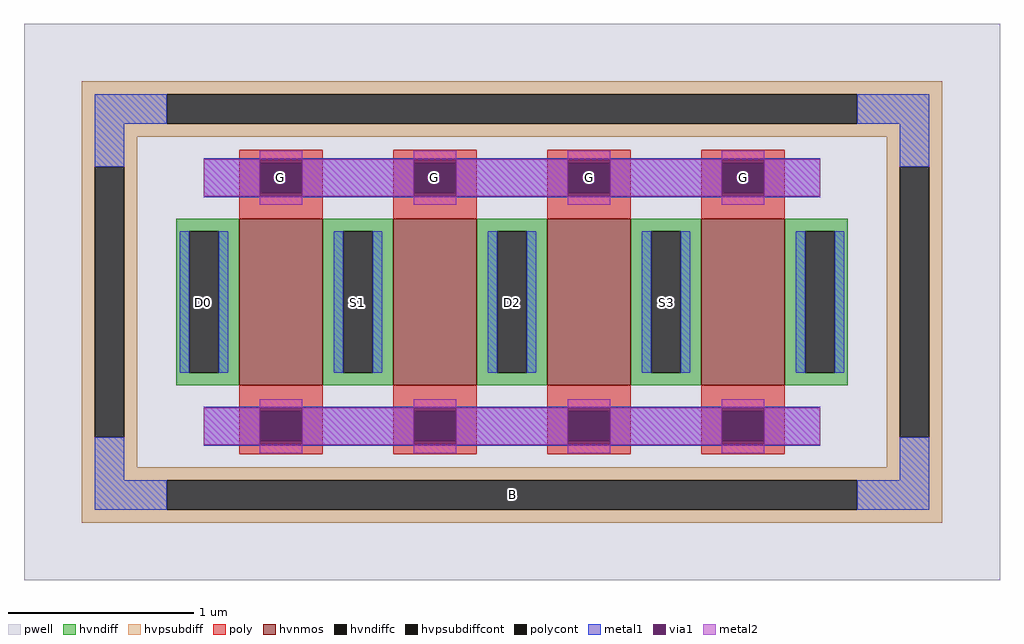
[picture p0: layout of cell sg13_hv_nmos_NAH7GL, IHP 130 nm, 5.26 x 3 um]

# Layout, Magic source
magic
tech ihp-sg13cmos5l
magscale 1 2
<< pwell >>
rect -526 -300 526 300
<< hvnmos >>
rect -294 -90 -204 90
rect -128 -90 -38 90
rect 38 -90 128 90
rect 204 -90 294 90
<< hvndiff >>
rect -362 76 -294 90
rect -362 -76 -348 76
rect -316 -76 -294 76
rect -362 -90 -294 -76
rect -204 76 -128 90
rect -204 -76 -182 76
rect -150 -76 -128 76
rect -204 -90 -128 -76
rect -38 76 38 90
rect -38 -76 -16 76
rect 16 -76 38 76
rect -38 -90 38 -76
rect 128 76 204 90
rect 128 -76 150 76
rect 182 -76 204 76
rect 128 -90 204 -76
rect 294 76 362 90
rect 294 -76 316 76
rect 348 -76 362 76
rect 294 -90 362 -76
<< hvndiffc >>
rect -348 -76 -316 76
rect -182 -76 -150 76
rect -16 -76 16 76
rect 150 -76 182 76
rect 316 -76 348 76
<< hvpsubdiff >>
rect -464 224 464 238
rect -464 192 -372 224
rect 372 192 464 224
rect -464 178 464 192
rect -464 146 -404 178
rect -464 -146 -450 146
rect -418 -146 -404 146
rect 404 146 464 178
rect -464 -178 -404 -146
rect 404 -146 418 146
rect 450 -146 464 146
rect 404 -178 464 -146
rect -464 -192 464 -178
rect -464 -224 -372 -192
rect 372 -224 464 -192
rect -464 -238 464 -224
<< hvpsubdiffcont >>
rect -372 192 372 224
rect -450 -146 -418 146
rect 418 -146 450 146
rect -372 -224 372 -192
<< poly >>
rect -294 150 -204 164
rect -294 118 -272 150
rect -226 118 -204 150
rect -294 90 -204 118
rect -128 150 -38 164
rect -128 118 -106 150
rect -60 118 -38 150
rect -128 90 -38 118
rect 38 150 128 164
rect 38 118 60 150
rect 106 118 128 150
rect 38 90 128 118
rect 204 150 294 164
rect 204 118 226 150
rect 272 118 294 150
rect 204 90 294 118
rect -294 -118 -204 -90
rect -294 -150 -272 -118
rect -226 -150 -204 -118
rect -294 -164 -204 -150
rect -128 -118 -38 -90
rect -128 -150 -106 -118
rect -60 -150 -38 -118
rect -128 -164 -38 -150
rect 38 -118 128 -90
rect 38 -150 60 -118
rect 106 -150 128 -118
rect 38 -164 128 -150
rect 204 -118 294 -90
rect 204 -150 226 -118
rect 272 -150 294 -118
rect 204 -164 294 -150
<< polycont >>
rect -272 118 -226 150
rect -106 118 -60 150
rect 60 118 106 150
rect 226 118 272 150
rect -272 -150 -226 -118
rect -106 -150 -60 -118
rect 60 -150 106 -118
rect 226 -150 272 -118
<< metal1 >>
rect -450 192 -372 224
rect 372 192 450 224
rect -450 146 -418 192
rect -332 154 332 155
rect -332 114 -272 154
rect -226 114 -106 154
rect -60 114 60 154
rect 106 114 226 154
rect 272 114 332 154
rect -332 113 332 114
rect 418 146 450 192
rect -358 -76 -348 76
rect -316 -76 -306 76
rect -192 -76 -182 76
rect -150 -76 -140 76
rect -26 -76 -16 76
rect 16 -76 26 76
rect 140 -76 150 76
rect 182 -76 192 76
rect 306 -76 316 76
rect 348 -76 358 76
rect -450 -192 -418 -146
rect -332 -114 332 -113
rect -332 -154 -272 -114
rect -226 -154 -106 -114
rect -60 -154 60 -114
rect 106 -154 226 -114
rect 272 -154 332 -114
rect -332 -155 332 -154
rect 418 -192 450 -146
rect -450 -224 -372 -192
rect 372 -224 450 -192
<< via1 >>
rect -272 150 -226 154
rect -272 118 -226 150
rect -272 114 -226 118
rect -106 150 -60 154
rect -106 118 -60 150
rect -106 114 -60 118
rect 60 150 106 154
rect 60 118 106 150
rect 60 114 106 118
rect 226 150 272 154
rect 226 118 272 150
rect 226 114 272 118
rect -272 -118 -226 -114
rect -272 -150 -226 -118
rect -272 -154 -226 -150
rect -106 -118 -60 -114
rect -106 -150 -60 -118
rect -106 -154 -60 -150
rect 60 -118 106 -114
rect 60 -150 106 -118
rect 60 -154 106 -150
rect 226 -118 272 -114
rect 226 -150 272 -118
rect 226 -154 272 -150
<< metal2 >>
rect -272 154 -226 163
rect -106 154 -60 163
rect 60 154 106 163
rect 226 154 272 163
rect -332 114 -272 154
rect -226 114 -106 154
rect -60 114 60 154
rect 106 114 226 154
rect 272 114 332 154
rect -272 105 -226 114
rect -106 105 -60 114
rect 60 105 106 114
rect 226 105 272 114
rect -272 -114 -226 -105
rect -106 -114 -60 -105
rect 60 -114 106 -105
rect 226 -114 272 -105
rect -332 -154 -272 -114
rect -226 -154 -106 -114
rect -60 -154 60 -114
rect 106 -154 226 -114
rect 272 -154 332 -114
rect -272 -163 -226 -154
rect -106 -163 -60 -154
rect 60 -163 106 -154
rect 226 -163 272 -154
<< labels >>
rlabel hvpsubdiffcont 0 -208 0 -208 0 B
port 1 nsew
rlabel hvndiffc -332 0 -332 0 0 D0
port 2 nsew
rlabel polycont -249 134 -249 134 0 G
port 3 nsew
rlabel hvndiffc -166 0 -166 0 0 S1
port 4 nsew
rlabel polycont -83 134 -83 134 0 G
port 3 nsew
rlabel hvndiffc 0 0 0 0 0 D2
port 5 nsew
rlabel polycont 83 134 83 134 0 G
port 3 nsew
rlabel hvndiffc 166 0 166 0 0 S3
port 6 nsew
rlabel polycont 249 134 249 134 0 G
port 3 nsew
<< properties >>
string FIXED_BBOX -434 -208 434 208
string gencell sg13_hv_nmos
string library sg13cmos5l
string parameters w 0.9 l 0.45 m 1 ng 4 diffcov 100 polycov 100 guard 1 glc 1 grc 1 gtc 1 gbc 1 tbcov 100 rlcov 100 topc 1 botc 1 poverlap 0 doverlap 1 lmin 0.45 wmin 0.15 class mosfet compatible {sg13_lv_nmos sg13_hv_nmos} full_metal 1 conn_gates 1 gate_ring 0 doports 1 viasrc 0 viadrn 0 viagate 100 ccols 1 viagb 0 viagr 0 viagl 0 viagt 0
<< end >>
